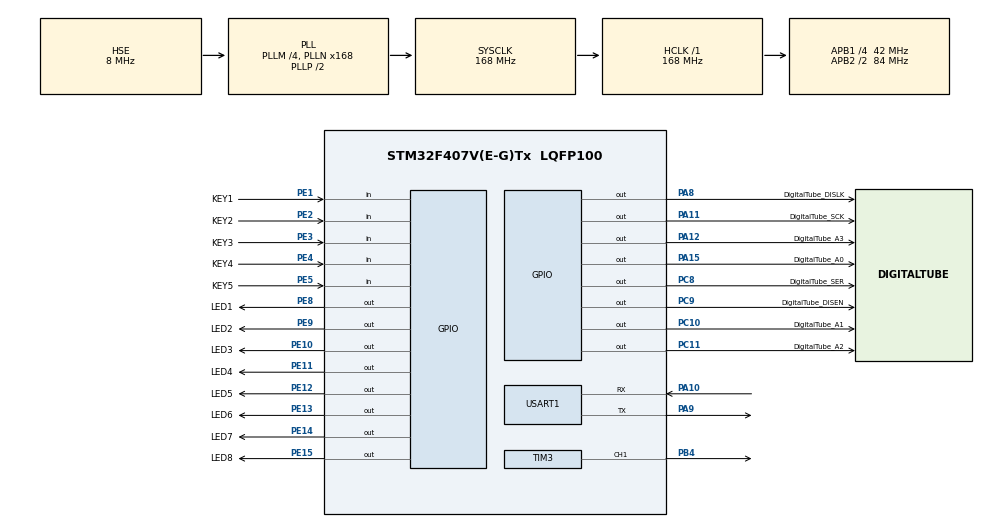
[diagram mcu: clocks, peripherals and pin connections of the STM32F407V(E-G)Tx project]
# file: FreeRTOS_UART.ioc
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Dma.Request0=USART1_RX
Dma.USART1_RX.0.Direction=DMA_PERIPH_TO_MEMORY
Dma.USART1_RX.0.FIFOMode=DMA_FIFOMODE_DISABLE
Dma.USART1_RX.0.Instance=DMA2_Stream2
Dma.USART1_RX.0.MemDataAlignment=DMA_MDATAALIGN_BYTE
Dma.USART1_RX.0.MemInc=DMA_MINC_ENABLE
Dma.USART1_RX.0.Mode=DMA_NORMAL
Dma.USART1_RX.0.PeriphDataAlignment=DMA_PDATAALIGN_BYTE
Dma.USART1_RX.0.PeriphInc=DMA_PINC_DISABLE
Dma.USART1_RX.0.Priority=DMA_PRIORITY_LOW
FREERTOS.Queues01=uartQueue,16,128,1,Dynamic,NULL,NULL
FREERTOS.Tasks01=ledTask,24,256,StartLedTask,Default,NULL,Dynamic,NULL,NULL;keyTask,24,256,StartKeyTask,Default,NULL,Dynamic,NULL,NULL;digitaTubeTask,24,256,StartDigitaTubeTask,Default,NULL,Dynamic,NULL,NULL;uartReceiveTask,24,256,StartUartReceiveTask,Default,NULL,Dynamic,NULL,NULL;uartProcessTask,24,256,StartUartProcessTask,Default,NULL,Dynamic,NULL,NULL;beepTask,24,256,StartBeepTask,Default,NULL,Dynamic,NULL,NULL;temporaryTask,24,256,StartTemporaryTask,Default,NULL,Dynamic,NULL,NULL;uartDMATask,24,256,StartUartDMATask,Default,NULL,Dynamic,NULL,NULL
FREERTOS.configENABLE_FPU=0
Mcu.Family=STM32F4
Mcu.Name=STM32F407V(E-G)Tx
Mcu.Package=LQFP100
NVIC.DMA2_Stream2_IRQn=true\:0\:0\:false\:false\:true\:true\:false\:true
NVIC.PriorityGroup=NVIC_PRIORITYGROUP_4
NVIC.TIM8_TRG_COM_TIM14_IRQn=true\:0\:0\:false\:false\:true\:false\:false\:true
NVIC.TimeBase=TIM8_TRG_COM_TIM14_IRQn
NVIC.TimeBaseIP=TIM14
NVIC.USART1_IRQn=true\:5\:0\:true\:false\:true\:false\:true\:true
PA10.Mode=Asynchronous
PA10.Signal=USART1_RX
PA11.GPIO_Label=DigitalTube_SCK
PA11.Signal=GPIO_Output
PA12.GPIO_Label=DigitalTube_A3
PA12.Signal=GPIO_Output
PA13.Mode=Serial_Wire
PA13.Signal=SYS_JTMS-SWDIO
PA14.Mode=Serial_Wire
PA14.Signal=SYS_JTCK-SWCLK
PA15.GPIO_Label=DigitalTube_A0
PA15.Signal=GPIO_Output
PA8.GPIO_Label=DigitalTube_DISLK
PA8.Signal=GPIO_Output
PA9.Mode=Asynchronous
PA9.Signal=USART1_TX
PB4.Signal=S_TIM3_CH1
PC10.GPIO_Label=DigitalTube_A1
PC10.Signal=GPIO_Output
PC11.GPIO_Label=DigitalTube_A2
PC11.Signal=GPIO_Output
PC8.GPIO_Label=DigitalTube_SER
PC8.Signal=GPIO_Output
PC9.GPIO_Label=DigitalTube_DISEN
PC9.Signal=GPIO_Output
PE1.GPIO_Label=KEY1
PE1.GPIO_PuPd=GPIO_PULLUP
PE1.Signal=GPIO_Input
PE10.GPIO_Label=LED3
PE10.PinState=GPIO_PIN_SET
PE10.Signal=GPIO_Output
PE11.GPIO_Label=LED4
PE11.PinState=GPIO_PIN_SET
PE11.Signal=GPIO_Output
PE12.GPIO_Label=LED5
PE12.PinState=GPIO_PIN_SET
PE12.Signal=GPIO_Output
PE13.GPIO_Label=LED6
PE13.PinState=GPIO_PIN_SET
PE13.Signal=GPIO_Output
PE14.GPIO_Label=LED7
PE14.PinState=GPIO_PIN_SET
PE14.Signal=GPIO_Output
PE15.GPIO_Label=LED8
PE15.PinState=GPIO_PIN_SET
PE15.Signal=GPIO_Output
PE2.GPIO_Label=KEY2
PE2.GPIO_PuPd=GPIO_PULLUP
PE2.Signal=GPIO_Input
PE3.GPIO_Label=KEY3
PE3.GPIO_PuPd=GPIO_PULLUP
PE3.Signal=GPIO_Input
PE4.GPIO_Label=KEY4
PE4.GPIO_PuPd=GPIO_PULLUP
PE4.Signal=GPIO_Input
PE5.GPIO_Label=KEY5
PE5.GPIO_PuPd=GPIO_PULLDOWN
PE5.Signal=GPIO_Input
PE8.GPIO_Label=LED1
PE8.PinState=GPIO_PIN_SET
PE8.Signal=GPIO_Output
PE9.GPIO_Label=LED2
PE9.PinState=GPIO_PIN_SET
PE9.Signal=GPIO_Output
PH0-OSC_IN.Mode=HSE-External-Oscillator
PH0-OSC_IN.Signal=RCC_OSC_IN
PH1-OSC_OUT.Mode=HSE-External-Oscillator
PH1-OSC_OUT.Signal=RCC_OSC_OUT
ProjectManager.HeapSize=0x200
ProjectManager.StackSize=0x400
ProjectManager.TargetToolchain=SW4STM32
RCC.48MHZClocksFreq_Value=84000000
RCC.AHBFreq_Value=168000000
RCC.APB1CLKDivider=RCC_HCLK_DIV4
RCC.APB1Freq_Value=42000000
RCC.APB1TimFreq_Value=84000000
RCC.APB2CLKDivider=RCC_HCLK_DIV2
RCC.APB2Freq_Value=84000000
RCC.APB2TimFreq_Value=168000000
RCC.CortexFreq_Value=168000000
RCC.HCLKFreq_Value=168000000
RCC.HSE_VALUE=8000000
RCC.HSI_VALUE=16000000
RCC.LSE_VALUE=32768
RCC.PLLM=4
RCC.PLLN=168
RCC.PLLSourceVirtual=RCC_PLLSOURCE_HSE
RCC.SYSCLKFreq_VALUE=168000000
RCC.SYSCLKSource=RCC_SYSCLKSOURCE_PLLCLK
RCC.VCOOutputFreq_Value=336000000
SH.S_TIM3_CH1.0=TIM3_CH1,PWM Generation1 CH1
TIM3.AutoReloadPreload=TIM_AUTORELOAD_PRELOAD_ENABLE
TIM3.Channel-PWM\ Generation1\ CH1=TIM_CHANNEL_1
TIM3.OCPolarity_1=TIM_OCPOLARITY_LOW
TIM3.Period=299
TIM3.Prescaler=83
TIM3.Pulse-PWM\ Generation1\ CH1=200
USART1.VirtualMode=VM_ASYNC
VP_FREERTOS_VS_CMSIS_V2.Mode=CMSIS_V2
VP_SYS_VS_tim14.Mode=TIM14
board=custom

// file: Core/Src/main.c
/* USER CODE BEGIN Header */
/**
  ******************************************************************************
  * @file           : main.c
  * @brief          : Main program body
  ******************************************************************************
  * @attention
  *
  * <h2><center>&copy; Copyright (c) 2020 STMicroelectronics.
  * All rights reserved.</center></h2>
  *
  * This software component is licensed by ST under BSD 3-Clause license,
  * the "License"; You may not use this file except in compliance with the
  * License. You may obtain a copy of the License at:
  *                        opensource.org/licenses/BSD-3-Clause
  *
  ******************************************************************************
  */
/* USER CODE END Header */
#include "main.h"
#include "cmsis_os.h"
#include "dma.h"
#include "tim.h"
#include "usart.h"
#include "gpio.h"

/* USER CODE BEGIN Includes */
#include <retarget.h>
/* USER CODE END Includes */

void SystemClock_Config(void);
void MX_FREERTOS_Init(void);

int main(void)
{

  /* MCU Configuration--------------------------------------------------------*/

  /* Reset of all peripherals, Initializes the Flash interface and the Systick. */
  HAL_Init();

  /* Configure the system clock */
  SystemClock_Config();

  /* Initialize all configured peripherals */
  MX_GPIO_Init();
  MX_DMA_Init();
  MX_USART1_UART_Init();
  MX_TIM3_Init();
  /* USER CODE BEGIN 2 */
    RetargetInit(&huart1);
  /* USER CODE END 2 */

  /* Init scheduler */
  osKernelInitialize();  /* Call init function for freertos objects (in freertos.c) */
  MX_FREERTOS_Init();
  /* Start scheduler */
  osKernelStart();

  /* We should never get here as control is now taken by the scheduler */
  /* Infinite loop */
  while (1)
  {

  }
}

void SystemClock_Config(void)
{
  RCC_OscInitTypeDef RCC_OscInitStruct = {0};
  RCC_ClkInitTypeDef RCC_ClkInitStruct = {0};

  /** Configure the main internal regulator output voltage
  */
  __HAL_RCC_PWR_CLK_ENABLE();
  __HAL_PWR_VOLTAGESCALING_CONFIG(PWR_REGULATOR_VOLTAGE_SCALE1);
  /** Initializes the RCC Oscillators according to the specified parameters
  * in the RCC_OscInitTypeDef structure.
  */
  RCC_OscInitStruct.OscillatorType = RCC_OSCILLATORTYPE_HSE;
  RCC_OscInitStruct.HSEState = RCC_HSE_ON;
  RCC_OscInitStruct.PLL.PLLState = RCC_PLL_ON;
  RCC_OscInitStruct.PLL.PLLSource = RCC_PLLSOURCE_HSE;
  RCC_OscInitStruct.PLL.PLLM = 4;
  RCC_OscInitStruct.PLL.PLLN = 168;
  RCC_OscInitStruct.PLL.PLLP = RCC_PLLP_DIV2;
  RCC_OscInitStruct.PLL.PLLQ = 4;
  if (HAL_RCC_OscConfig(&RCC_OscInitStruct) != HAL_OK)
  {
    Error_Handler();
  }
  /** Initializes the CPU, AHB and APB buses clocks
  */
  RCC_ClkInitStruct.ClockType = RCC_CLOCKTYPE_HCLK|RCC_CLOCKTYPE_SYSCLK
                              |RCC_CLOCKTYPE_PCLK1|RCC_CLOCKTYPE_PCLK2;
  RCC_ClkInitStruct.SYSCLKSource = RCC_SYSCLKSOURCE_PLLCLK;
  RCC_ClkInitStruct.AHBCLKDivider = RCC_SYSCLK_DIV1;
  RCC_ClkInitStruct.APB1CLKDivider = RCC_HCLK_DIV4;
  RCC_ClkInitStruct.APB2CLKDivider = RCC_HCLK_DIV2;

  if (HAL_RCC_ClockConfig(&RCC_ClkInitStruct, FLASH_LATENCY_5) != HAL_OK)
  {
    Error_Handler();
  }
}

void HAL_TIM_PeriodElapsedCallback(TIM_HandleTypeDef *htim)
{
  if (htim->Instance == TIM14) {
    HAL_IncTick();
  }
}

void Error_Handler(void)
{
}

/************************ (C) COPYRIGHT STMicroelectronics *****END OF FILE****/

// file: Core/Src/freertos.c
/* USER CODE BEGIN Header */
/**
  ******************************************************************************
  * File Name          : freertos.c
  * Description        : Code for freertos applications
  ******************************************************************************
  * @attention
  *
  * <h2><center>&copy; Copyright (c) 2020 STMicroelectronics.
  * All rights reserved.</center></h2>
  *
  * This software component is licensed by ST under Ultimate Liberty license
  * SLA0044, the "License"; You may not use this file except in compliance with
  * the License. You may obtain a copy of the License at:
  *                             www.st.com/SLA0044
  *
  ******************************************************************************
  */
/* USER CODE END Header */

#include "FreeRTOS.h"
#include "task.h"
#include "main.h"
#include "cmsis_os.h"

/* USER CODE BEGIN Includes */
#include <stdio.h>
#include <stdbool.h>
#include <string.h>
#include "LED.h"
#include "DigitalTube.h"
#include "usart.h"
#include "tim.h"
/* USER CODE END Includes */

/* USER CODE BEGIN Variables */
bool led_switch = false;
uint32_t led_control_time = 200;
bool beep_switch = false;
uint8_t show_data[4];

#if (UART_Receive_useMsg == 0)
extern uint8_t rx1_buf[MAX_RECV_LEN];
extern uint8_t line_flag;
#endif
extern uint8_t *pBuf;
#if UART_Receive_useDMA
extern uint32_t recv_len;//接收数据长度
extern uint8_t dma_buf[MAX_BUF_LEN];//DMA接收缓存
#endif

/* USER CODE END Variables */
/* Definitions for ledTask */
osThreadId_t ledTaskHandle;
const osThreadAttr_t ledTask_attributes = {
  .name = "ledTask",
  .priority = (osPriority_t) osPriorityNormal,
  .stack_size = 256 * 4
};
/* Definitions for keyTask */
osThreadId_t keyTaskHandle;
const osThreadAttr_t keyTask_attributes = {
  .name = "keyTask",
  .priority = (osPriority_t) osPriorityNormal,
  .stack_size = 256 * 4
};
/* Definitions for digitaTubeTask */
osThreadId_t digitaTubeTaskHandle;
const osThreadAttr_t digitaTubeTask_attributes = {
  .name = "digitaTubeTask",
  .priority = (osPriority_t) osPriorityNormal,
  .stack_size = 256 * 4
};
/* Definitions for uartReceiveTask */
osThreadId_t uartReceiveTaskHandle;
const osThreadAttr_t uartReceiveTask_attributes = {
  .name = "uartReceiveTask",
  .priority = (osPriority_t) osPriorityNormal,
  .stack_size = 256 * 4
};
/* Definitions for uartProcessTask */
osThreadId_t uartProcessTaskHandle;
const osThreadAttr_t uartProcessTask_attributes = {
  .name = "uartProcessTask",
  .priority = (osPriority_t) osPriorityNormal,
  .stack_size = 256 * 4
};
/* Definitions for beepTask */
osThreadId_t beepTaskHandle;
const osThreadAttr_t beepTask_attributes = {
  .name = "beepTask",
  .priority = (osPriority_t) osPriorityNormal,
  .stack_size = 256 * 4
};
/* Definitions for temporaryTask */
osThreadId_t temporaryTaskHandle;
const osThreadAttr_t temporaryTask_attributes = {
  .name = "temporaryTask",
  .priority = (osPriority_t) osPriorityNormal,
  .stack_size = 256 * 4
};
/* Definitions for uartDMATask */
osThreadId_t uartDMATaskHandle;
const osThreadAttr_t uartDMATask_attributes = {
  .name = "uartDMATask",
  .priority = (osPriority_t) osPriorityNormal,
  .stack_size = 256 * 4
};
/* Definitions for uartQueue */
osMessageQueueId_t uartQueueHandle;
const osMessageQueueAttr_t uartQueue_attributes = {
  .name = "uartQueue"
};

void StartLedTask(void *argument);
void StartKeyTask(void *argument);
void StartDigitaTubeTask(void *argument);
void StartUartReceiveTask(void *argument);
void StartUartProcessTask(void *argument);
void StartBeepTask(void *argument);
void StartTemporaryTask(void *argument);
void StartUartDMATask(void *argument);

void MX_FREERTOS_Init(void); /* (MISRA C 2004 rule 8.1) */

void MX_FREERTOS_Init(void) {

  /* Create the queue(s) */
  /* creation of uartQueue */
  uartQueueHandle = osMessageQueueNew (16, 128, &uartQueue_attributes);

  /* Create the thread(s) */
  /* creation of ledTask */
  ledTaskHandle = osThreadNew(StartLedTask, NULL, &ledTask_attributes);

  /* creation of keyTask */
  keyTaskHandle = osThreadNew(StartKeyTask, NULL, &keyTask_attributes);

  /* creation of digitaTubeTask */
  digitaTubeTaskHandle = osThreadNew(StartDigitaTubeTask, NULL, &digitaTubeTask_attributes);

  /* creation of uartReceiveTask */
  uartReceiveTaskHandle = osThreadNew(StartUartReceiveTask, NULL, &uartReceiveTask_attributes);

  /* creation of uartProcessTask */
  uartProcessTaskHandle = osThreadNew(StartUartProcessTask, NULL, &uartProcessTask_attributes);

  /* creation of beepTask */
  beepTaskHandle = osThreadNew(StartBeepTask, NULL, &beepTask_attributes);

  /* creation of temporaryTask */
  temporaryTaskHandle = osThreadNew(StartTemporaryTask, NULL, &temporaryTask_attributes);

  /* creation of uartDMATask */
  uartDMATaskHandle = osThreadNew(StartUartDMATask, NULL, &uartDMATask_attributes);

  /* USER CODE BEGIN RTOS_THREADS */
  /* add threads, ... */
    osThreadSuspend(temporaryTaskHandle);//挂起临时任务
    osThreadTerminate(temporaryTaskHandle);//删除临时任务

#if (UART_Receive_useNormal == 0)
    osThreadSuspend(uartReceiveTaskHandle);//挂起
    osThreadTerminate(uartReceiveTaskHandle);//删除串口轮询方式任务
#endif

#if (UART_Receive_useIT == 0)
    osThreadSuspend(uartProcessTaskHandle);//挂起
    osThreadTerminate(uartProcessTaskHandle);//删除串口中断接收方式处理任务
#endif

#if (UART_Receive_useDMA == 0)
    osThreadSuspend(uartDMATaskHandle);//挂起
    osThreadTerminate(uartDMATaskHandle);//删除串口DMA接收方式处理任务
#endif

  /* USER CODE END RTOS_THREADS */

}

void StartLedTask(void *argument)
{
  /* USER CODE BEGIN StartLedTask */
    uint8_t led_id = 1;
  /* Infinite loop */
  for(;;)
  {
      if (led_switch){
          turnoffLED();
          selectLED(led_id);
          if(led_id==8){
              led_id = 1;
          }
          else{
              led_id++;
          }
          osDelay(led_control_time);
      }
      else {
          osDelay(1);
      }
  }
  /* USER CODE END StartLedTask */
}

void StartKeyTask(void *argument)
{
  /* USER CODE BEGIN StartKeyTask */
    uint8_t key_state;
  /* Infinite loop */
  for(;;)
  {
      //扫描按键
      key_state = 0;
      if (HAL_GPIO_ReadPin(KEY1_GPIO_Port,KEY1_Pin)==GPIO_PIN_RESET){
          osDelay(10);
          if(HAL_GPIO_ReadPin(KEY1_GPIO_Port,KEY1_Pin)==GPIO_PIN_RESET)
          {
              key_state = 1;
          }
          while(HAL_GPIO_ReadPin(KEY1_GPIO_Port,KEY1_Pin)==GPIO_PIN_RESET)
          {
              osDelay(1);
          }
      }
      else if (HAL_GPIO_ReadPin(KEY2_GPIO_Port,KEY2_Pin)==GPIO_PIN_RESET){
          osDelay(10);
          if(HAL_GPIO_ReadPin(KEY2_GPIO_Port,KEY2_Pin)==GPIO_PIN_RESET)
          {
              key_state = 2;
          }
          while(HAL_GPIO_ReadPin(KEY2_GPIO_Port,KEY2_Pin)==GPIO_PIN_RESET)
          {
              osDelay(1);
          }
      }
      else if (HAL_GPIO_ReadPin(KEY3_GPIO_Port,KEY3_Pin)==GPIO_PIN_RESET){
          osDelay(10);
          if(HAL_GPIO_ReadPin(KEY3_GPIO_Port,KEY3_Pin)==GPIO_PIN_RESET)
          {
              key_state = 3;
          }
          while(HAL_GPIO_ReadPin(KEY3_GPIO_Port,KEY3_Pin)==GPIO_PIN_RESET)
          {
              osDelay(1);
          }
      }
      else if (HAL_GPIO_ReadPin(KEY4_GPIO_Port,KEY4_Pin)==GPIO_PIN_RESET){
          osDelay(10);
          if(HAL_GPIO_ReadPin(KEY4_GPIO_Port,KEY4_Pin)==GPIO_PIN_RESET)
          {
              key_state = 4;
          }
          while(HAL_GPIO_ReadPin(KEY4_GPIO_Port,KEY4_Pin)==GPIO_PIN_RESET)
          {
              osDelay(1);
          }
      }
      else if (HAL_GPIO_ReadPin(KEY5_GPIO_Port,KEY5_Pin)==GPIO_PIN_SET){
          osDelay(10);
          if(HAL_GPIO_ReadPin(KEY5_GPIO_Port,KEY5_Pin)==GPIO_PIN_SET)
          {
              key_state = 5;
          }
          while(HAL_GPIO_ReadPin(KEY5_GPIO_Port,KEY5_Pin)==GPIO_PIN_SET)
          {
              osDelay(1);
          }
      }
      //按键触发控制
      switch (key_state) {
          case 1://启动流水灯
              led_switch=true;
              __HAL_TIM_SET_AUTORELOAD(&htim3,299);
              beep_switch = true;
              show_data[0] = 1; show_data[1] = 0; show_data[2] = 0; show_data[3] = 0;
              printf("led_switch = %d,led_control_time = %d\r\n",led_switch,(int)led_control_time);
              break;

          case 2://减速流水灯
              if(led_control_time<400)led_control_time+=10;
              else led_control_time = 400;
              __HAL_TIM_SET_AUTORELOAD(&htim3,399);
              beep_switch = true;
              show_data[0] = 2; show_data[1] = 0; show_data[2] = 0; show_data[3] = 0;
              printf("led_switch = %d,led_control_time = %d\r\n",led_switch,(int)led_control_time);
              break;

          case 3://加速流水灯
              if(led_control_time>10) led_control_time-=10;
              else led_control_time = 10;
              __HAL_TIM_SET_AUTORELOAD(&htim3,499);
              beep_switch = true;
              show_data[0] = 3; show_data[1] = 0; show_data[2] = 0; show_data[3] = 0;
              printf("led_switch = %d,led_control_time = %d\r\n",led_switch,(int)led_control_time);
              break;

          case 4://暂停流水灯
              led_switch=false;
              __HAL_TIM_SET_AUTORELOAD(&htim3,599);
              beep_switch = true;
              show_data[0] = 4; show_data[1] = 0; show_data[2] = 0; show_data[3] = 0;
              printf("led_switch = %d,led_control_time = %d\r\n",led_switch,(int)led_control_time);
              break;

          case 5:
              osThreadSuspend(digitaTubeTaskHandle);//挂起数码管显示任务
              temporaryTaskHandle = osThreadNew(StartTemporaryTask, NULL, &temporaryTask_attributes);//新建临时任务
              break;

          default:
              break;
      }

      osDelay(1);
  }
  /* USER CODE END StartKeyTask */
}

void StartDigitaTubeTask(void *argument)
{
  /* USER CODE BEGIN StartDigitaTubeTask */
  /* Infinite loop */
  for(;;)
  {
      for (int i = 0; i < 4; ++i) {
          Write595(i,show_data[i],0);
          osDelay(5);
      }
  }
  /* USER CODE END StartDigitaTubeTask */
}

void StartUartReceiveTask(void *argument)
{
  /* USER CODE BEGIN StartUartReceiveTask */
  uint8_t rx_data;
  /* Infinite loop */
  for(;;)
  {
      if (HAL_UART_Receive(&huart1, &rx_data, 1, 100) == HAL_OK){
          printf("%c", rx_data);
      }
#if (UART_Receive_useNormal==0)
      osDelay(1);//阻塞方式读取数据，不需要延时
#endif
  }
  /* USER CODE END StartUartReceiveTask */
}

void StartUartProcessTask(void *argument)
{
  /* USER CODE BEGIN StartUartProcessTask */
#if UART_Receive_useIT
    HAL_UART_Receive_IT(&huart1, pBuf, 1);
#endif
#if UART_Receive_useMsg
    uint8_t rx1_buf[MAX_RECV_LEN];
#endif
  /* Infinite loop */
  for(;;)
  {
#if UART_Receive_useMsg
      if (osMessageQueueGet(uartQueueHandle, rx1_buf, 0, 0) == osOK){
#else
      if (line_flag) {
#endif
          if(strcmp((char *)rx1_buf, "START\r\n") == 0) {
              led_switch = true;
              printf("OK\r\n");
          }
          else if(strcmp((char *)rx1_buf, "STOP\r\n") == 0) {
              led_switch = false;
              printf("OK\r\n");
          }
          else if(strcmp((char *)rx1_buf, "SPEED") > 0 && strlen((char *)rx1_buf) == 8) {
              if (rx1_buf[5] >= '1' && rx1_buf[5] <= '9') {
                  led_control_time = 200 - (rx1_buf[5] - '0') * 20;
                  printf("OK\r\n");
              }
              else{
                  printf("%s", rx1_buf);
              }
          }
          else if((rx1_buf[0] >= '0' && rx1_buf[0] <= '9') | (rx1_buf[0] >= 'A' && rx1_buf[0] <= 'F')) {
              switch (strlen((char  *)rx1_buf)) {
                  case 3:
                      if(rx1_buf[0] >= '0' && rx1_buf[0] <= '9'){
                          show_data[0] = rx1_buf[0] - '0';
                      }
                      else if (rx1_buf[0] >= 'A' && rx1_buf[0] <= 'F'){
                          show_data[0] = rx1_buf[0] - 'A' + 10;
                      }
                      show_data[1] = 0; show_data[2] = 0; show_data[3] = 0;
                      printf("OK\r\n");
                      break;

                  case 4:
                      if((rx1_buf[1] >= '0' && rx1_buf[1] <= '9') | (rx1_buf[1] >= 'A' && rx1_buf[1] <= 'F')){
                          for (int i = 0; i < 2; ++i) {
                              if(rx1_buf[i] >= '0' && rx1_buf[i] <= '9'){
                                  show_data[i] = rx1_buf[i] - '0';
                              }
                              else if (rx1_buf[i] >= 'A' && rx1_buf[i] <= 'F'){
                                  show_data[i] = rx1_buf[i] - 'A' + 10;
                              }
                          }
                          show_data[2] = 0; show_data[3] = 0;
                          printf("OK\r\n");
                      }
                      else{
                          printf("%s", rx1_buf);
                      }
                      break;

                  case 5:
                      if(((rx1_buf[1] >= '0' && rx1_buf[1] <= '9') | (rx1_buf[1] >= 'A' && rx1_buf[1] <= 'F')) &&
                         ((rx1_buf[2] >= '0' && rx1_buf[2] <= '9') | (rx1_buf[2] >= 'A' && rx1_buf[2] <= 'F'))){
                          for (int i = 0; i < 3; ++i) {
                              if(rx1_buf[i] >= '0' && rx1_buf[i] <= '9'){
                                  show_data[i] = rx1_buf[i] - '0';
                              }
                              else if (rx1_buf[i] >= 'A' && rx1_buf[i] <= 'F'){
                                  show_data[i] = rx1_buf[i] - 'A' + 10;
                              }
                          }
                          show_data[3] = 0;
                          printf("OK\r\n");
                      }
                      else{
                          printf("%s", rx1_buf);
                      }
                      break;

                  case 6:
                      if(((rx1_buf[1] >= '0' && rx1_buf[1] <= '9') | (rx1_buf[1] >= 'A' && rx1_buf[1] <= 'F')) &&
                         ((rx1_buf[2] >= '0' && rx1_buf[2] <= '9') | (rx1_buf[2] >= 'A' && rx1_buf[2] <= 'F')) &&
                         ((rx1_buf[3] >= '0' && rx1_buf[3] <= '9') | (rx1_buf[3] >= 'A' && rx1_buf[3] <= 'F'))){
                          for (int i = 0; i < 4; ++i) {
                              if(rx1_buf[i] >= '0' && rx1_buf[i] <= '9'){
                                  show_data[i] = rx1_buf[i] - '0';
                              }
                              else if (rx1_buf[i] >= 'A' && rx1_buf[i] <= 'F'){
                                  show_data[i] = rx1_buf[i] - 'A' + 10;
                              }
                          }
                          printf("OK\r\n");
                      }
                      else{
                          printf("%s", rx1_buf);
                      }
                      break;

                  default:
                      printf("%s", rx1_buf);
                      break;
              }
          }
          else{
              printf("%s", rx1_buf);
          }
#if (UART_Receive_useMsg == 0)
          line_flag = 0;
#endif
      }

      osDelay(1);
  }
  /* USER CODE END StartUartProcessTask */
}

void StartBeepTask(void *argument)
{
  /* USER CODE BEGIN StartBeepTask */
  /* Infinite loop */
  for(;;)
  {
      if (beep_switch) {
          HAL_TIM_PWM_Start(&htim3, TIM_CHANNEL_1);//使能输出
          osDelay(100);
          HAL_TIM_PWM_Stop(&htim3, TIM_CHANNEL_1);//使能输出
          beep_switch = false;
      }
      else {
          osDelay(1);
      }
  }
  /* USER CODE END StartBeepTask */
}

void StartTemporaryTask(void *argument)
{
  /* USER CODE BEGIN StartTemporaryTask */
  /* Infinite loop */
  for(;;)
  {
      Write595(0,8,0);
      osDelay(300);
      Write595(1,8,0);
      osDelay(300);
      Write595(2,8,0);
      osDelay(300);
      Write595(3,8,0);
      osDelay(300);
      osThreadResume(digitaTubeTaskHandle);//开启数码管显示任务
      osThreadTerminate(temporaryTaskHandle);//删除临时任务
  }
  /* USER CODE END StartTemporaryTask */
}

void StartUartDMATask(void *argument)
{
  /* USER CODE BEGIN StartUartDMATask */
#if UART_Receive_useDMA
    __HAL_UART_ENABLE_IT(&huart1, UART_IT_IDLE);//使能idle中断
    HAL_UART_Receive_DMA(&huart1, dma_buf, MAX_BUF_LEN);
#endif
  /* Infinite loop */
  for(;;)
  {
#if UART_Receive_useDMA
      if(recv_len > 0) {
          if(strcmp((char *)dma_buf, "START\r\n") == 0) {
              led_switch = true;
              printf("OK\r\n");
          }
          else if(strcmp((char *)dma_buf, "STOP\r\n") == 0) {
              led_switch = false;
              printf("OK\r\n");
          }
          else if(strcmp((char *)dma_buf, "SPEED") > 0 && strlen((char *)dma_buf) == 8) {
              if (dma_buf[5] >= '1' && dma_buf[5] <= '9') {
                  led_control_time = 200 - (dma_buf[5] - '0') * 20;
                  printf("OK\r\n");
              }
              else{
                  printf("%s", dma_buf);
              }
          }
          else if((dma_buf[0] >= '0' && dma_buf[0] <= '9') | (dma_buf[0] >= 'A' && dma_buf[0] <= 'F')) {
              switch (strlen((char  *)dma_buf)) {
                  case 3:
                      if(dma_buf[0] >= '0' && dma_buf[0] <= '9'){
                          show_data[0] = dma_buf[0] - '0';
                      }
                      else if (dma_buf[0] >= 'A' && dma_buf[0] <= 'F'){
                          show_data[0] = dma_buf[0] - 'A' + 10;
                      }
                      show_data[1] = 0; show_data[2] = 0; show_data[3] = 0;
                      printf("OK\r\n");
                      break;

                  case 4:
                      if((dma_buf[1] >= '0' && dma_buf[1] <= '9') | (dma_buf[1] >= 'A' && dma_buf[1] <= 'F')){
                          for (int i = 0; i < 2; ++i) {
                              if(dma_buf[i] >= '0' && dma_buf[i] <= '9'){
                                  show_data[i] = dma_buf[i] - '0';
                              }
                              else if (dma_buf[i] >= 'A' && dma_buf[i] <= 'F'){
                                  show_data[i] = dma_buf[i] - 'A' + 10;
                              }
                          }
                          show_data[2] = 0; show_data[3] = 0;
                          printf("OK\r\n");
                      }
                      else{
                          printf("%s", dma_buf);
                      }
                      break;

                  case 5:
                      if(((dma_buf[1] >= '0' && dma_buf[1] <= '9') | (dma_buf[1] >= 'A' && dma_buf[1] <= 'F')) &&
                         ((dma_buf[2] >= '0' && dma_buf[2] <= '9') | (dma_buf[2] >= 'A' && dma_buf[2] <= 'F'))){
                          for (int i = 0; i < 3; ++i) {
                              if(dma_buf[i] >= '0' && dma_buf[i] <= '9'){
                                  show_data[i] = dma_buf[i] - '0';
                              }
                              else if (dma_buf[i] >= 'A' && dma_buf[i] <= 'F'){
                                  show_data[i] = dma_buf[i] - 'A' + 10;
                              }
                          }
                          show_data[3] = 0;
                          printf("OK\r\n");
                      }
                      else{
                          printf("%s", dma_buf);
                      }
                      break;

                  case 6:
                      if(((dma_buf[1] >= '0' && dma_buf[1] <= '9') | (dma_buf[1] >= 'A' && dma_buf[1] <= 'F')) &&
                         ((dma_buf[2] >= '0' && dma_buf[2] <= '9') | (dma_buf[2] >= 'A' && dma_buf[2] <= 'F')) &&
                         ((dma_buf[3] >= '0' && dma_buf[3] <= '9') | (dma_buf[3] >= 'A' && dma_buf[3] <= 'F'))){
                          for (int i = 0; i < 4; ++i) {
                              if(dma_buf[i] >= '0' && dma_buf[i] <= '9'){
                                  show_data[i] = dma_buf[i] - '0';
                              }
                              else if (dma_buf[i] >= 'A' && dma_buf[i] <= 'F'){
                                  show_data[i] = dma_buf[i] - 'A' + 10;
                              }
                          }
                          printf("OK\r\n");
                      }
                      else{
                          printf("%s", dma_buf);
                      }
                      break;

                  default:
                      printf("%s", dma_buf);
                      break;
              }
          }
          else{
              printf("%s", dma_buf);
          }
          recv_len = 0;
      }
#endif
      osDelay(1);
  }
  /* USER CODE END StartUartDMATask */
}

/************************ (C) COPYRIGHT STMicroelectronics *****END OF FILE****/
